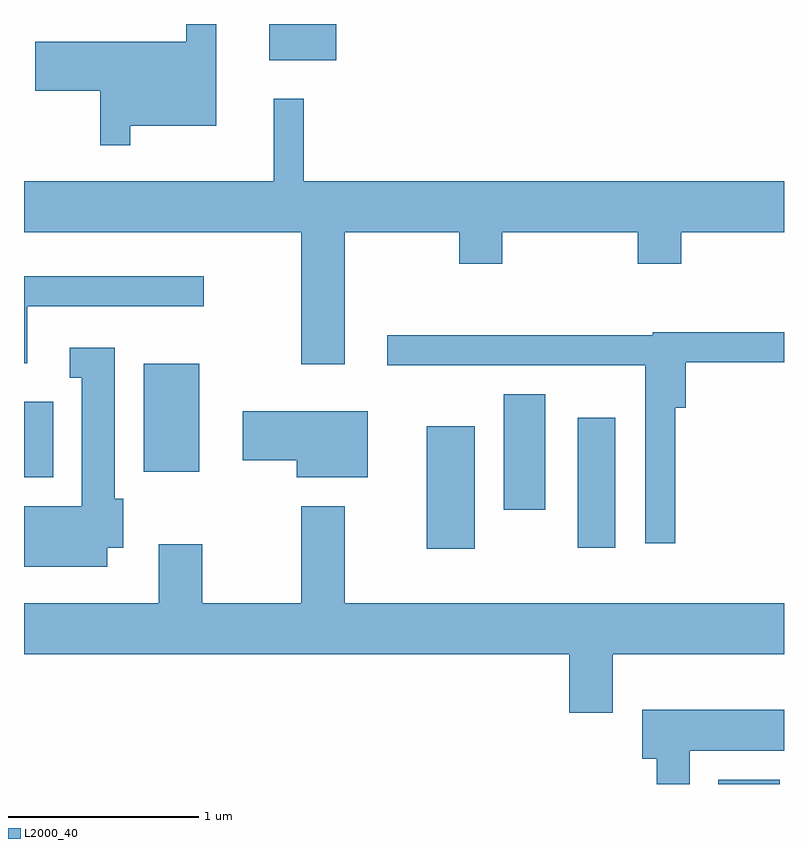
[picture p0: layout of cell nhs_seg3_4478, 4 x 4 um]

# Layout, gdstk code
import gdstk
lib = gdstk.Library(unit=1e-6, precision=1e-09)
def R(c, l, rs):  # rectangles x0, y0, x1, y1
    for r in rs: c.add(gdstk.rectangle(r[:2], r[2:], *l))
def P(c, l, *ps):  # polygons
    for p in ps: c.add(gdstk.Polygon(p, *l))
L2000_40 = (2000, 40)

nhs_seg3_4478 = lib.new_cell('nhs_seg3_4478')
R(nhs_seg3_4478, L2000_40, [(319.266,1231.892,319.589,1231.914), (317.731,1233.131,317.984,1233.774), (318.526,1233.136,318.724,1233.819), (318.136,1233.336,318.354,1233.944), (315.611,1233.506,315.764,1233.904), (316.241,1233.536,316.534,1234.104), (316.901,1235.701,317.254,1235.892)])
P(nhs_seg3_4478, L2000_40, [(316.169,1235.356),(316.624,1235.356),(316.624,1235.892),(316.466,1235.892),(316.466,1235.799),(315.671,1235.799),(315.671,1235.541),(316.011,1235.541),(316.011,1235.253),(316.169,1235.253)],
  [(317.299,1234.796),(317.901,1234.796),(317.901,1234.631),(318.129,1234.631),(318.129,1234.796),(318.841,1234.796),(318.841,1234.631),(319.069,1234.631),(319.069,1234.796),(319.611,1234.796),(319.611,1235.064),(317.084,1235.064),(317.084,1235.498),(316.926,1235.498),(316.926,1235.064),(315.611,1235.064),(315.611,1234.796),(317.071,1234.796),(317.071,1234.101),(317.299,1234.101)],
  [(315.629,1234.406),(316.558,1234.406),(316.558,1234.564),(315.611,1234.564),(315.611,1234.106),(315.629,1234.106)],
  [(319.039,1233.871),(319.094,1233.871),(319.094,1234.111),(319.611,1234.111),(319.611,1234.269),(318.92,1234.269),(318.92,1234.254),(317.523,1234.254),(317.523,1234.096),(318.881,1234.096),(318.881,1233.158),(319.039,1233.158)],
  [(316.049,1233.136),(316.134,1233.136),(316.134,1233.394),(316.089,1233.394),(316.089,1234.189),(315.853,1234.189),(315.853,1234.031),(315.916,1234.031),(315.916,1233.354),(315.611,1233.354),(315.611,1233.036),(316.049,1233.036)],
  [(317.419,1233.854),(316.761,1233.854),(316.761,1233.596),(317.046,1233.596),(317.046,1233.506),(317.419,1233.506)],
  [(318.709,1232.576),(319.611,1232.576),(319.611,1232.844),(317.299,1232.844),(317.299,1233.354),(317.071,1233.354),(317.071,1232.844),(316.549,1232.844),(316.549,1233.154),(316.321,1233.154),(316.321,1232.844),(315.611,1232.844),(315.611,1232.576),(318.481,1232.576),(318.481,1232.266),(318.709,1232.266)],
  [(319.114,1232.066),(319.611,1232.066),(319.611,1232.284),(318.866,1232.284),(318.866,1232.026),(318.941,1232.026),(318.941,1231.892),(319.114,1231.892)])

lib.write_gds('nhs_seg3_4478.gds')
